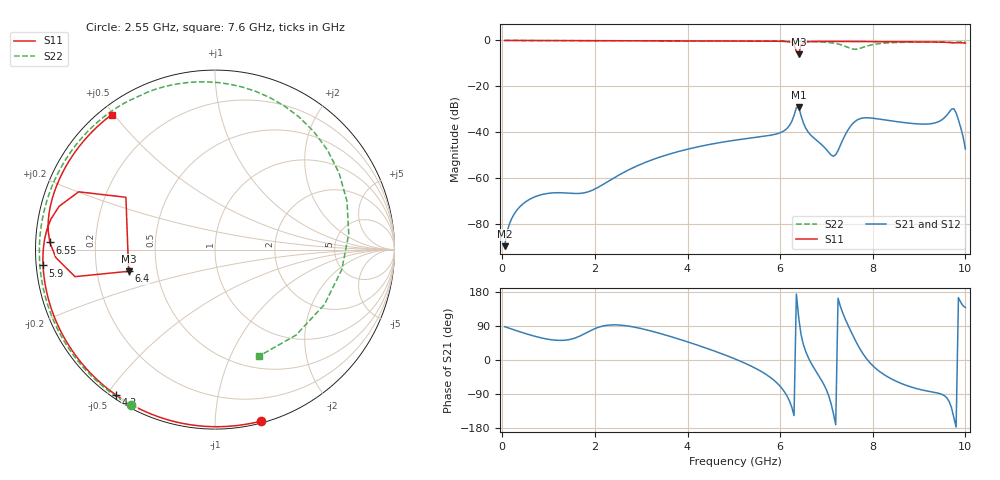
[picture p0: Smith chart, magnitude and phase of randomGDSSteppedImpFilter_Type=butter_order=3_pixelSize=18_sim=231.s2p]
! freq	dB(S11)	phase(S11)	dB(S12)	phase(S12)
!  dB(S21)	phase(S21)	dB(S22)	phase(S22)
!S-par simulation data
#  GHz  S  DB  R 50
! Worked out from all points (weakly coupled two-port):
!   200 points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, 50 MHz to 10 GHz, reference 50 ohm
!   highest |S21| = -29.04 dB at 6.4 GHz (marker M1); lowest = -89.8 dB at 50 MHz (marker M2)
!   lowest |S11| = -6.1 dB at 6.4 GHz (marker M3), VSWR 2.97, Z = 17.1 - j5.47 ohm
!   |S11| at or under -10 dB: nowhere
!   |S22| runs from -3.8 to 0.0 dB; largest |S21 - S12| = 0
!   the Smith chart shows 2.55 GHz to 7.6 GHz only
!   S11 on the Smith chart (normalised r, x): 2.55 GHz: 0.01, -1.31; 4.3 GHz: 0.01, -0.53; 5.9 GHz: 0.02, -0.05; 6.4 GHz: 0.34, -0.11; 6.55 GHz: 0.04, +0.02; 7.6 GHz: 0.03, +0.49
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0.05  -0.00 -1.5  -89.75 88.0  -89.75 88.0  -0.00 -2.7
0.7  -0.03 -21.0  -68.24 62.7  -68.24 62.7  -0.05 -37.4
1.75  -0.07 -51.9  -66.54 67.6  -66.54 67.6  -0.10 -87.0
2.55  -0.10 -74.8  -58.35 92.0  -58.35 92.0  -0.12 -118.4
3.4  -0.13 -98.8  -50.91 70.3  -50.91 70.3  -0.15 -147.0
4.3  -0.18 -124.2  -46.08 35.7  -46.08 35.7  -0.18 -174.4
5.05  -0.23 -146.2  -43.44 1.5  -43.44 1.5  -0.22 163.3
5.9  -0.34 -174.7  -40.91 -57.0  -40.91 -57.0  -0.29 135.7
6.3  -1.67 157.0  -32.73 -146.7  -32.73 -146.7  -0.37 119.8
6.35  -4.80 149.6  -29.37 174.1  -29.37 174.1  -0.40 117.6
6.4  -6.09 -165.9  -29.04 112.4  -29.04 112.4  -0.41 115.5
6.55  -0.71 177.5  -38.18 23.3  -38.18 23.3  -0.43 107.9
6.7  -0.48 167.5  -42.06 -15.1  -42.06 -15.1  -0.51 99.1
7.15  -0.44 147.0  -50.51 -141.6  -50.51 -141.6  -1.16 57.7
7.35  -0.45 138.4  -43.47 124.6  -43.47 124.6  -2.12 20.1
7.6  -0.48 127.4  -35.62 57.5  -35.62 57.5  -3.84 -67.7
7.7  -0.48 122.8  -34.32 34.3  -34.32 34.3  -3.61 -109.0
7.9  -0.50 113.6  -33.75 -1.8  -33.75 -1.8  -2.29 -167.8
8.35  -0.55 91.7  -34.94 -46.4  -34.94 -46.4  -1.02 134.5
9.3  -0.68 41.2  -36.16 -84.7  -36.16 -84.7  -0.68 83.2
9.75  -1.02 17.0  -29.77 -151.2  -29.77 -151.2  -0.92 66.4
10  -1.18 3.0  -47.35 138.4  -47.35 138.4  -0.61 56.5
